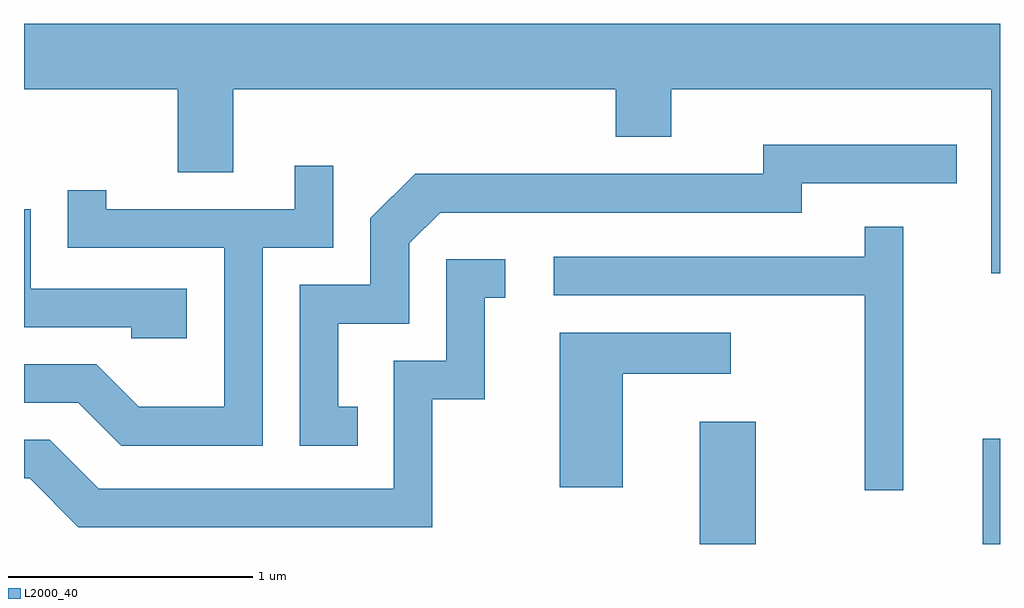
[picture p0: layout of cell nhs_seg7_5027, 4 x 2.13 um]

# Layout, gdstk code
import gdstk
lib = gdstk.Library(unit=1e-6, precision=1e-09)
def R(c, l, rs):  # rectangles x0, y0, x1, y1
    for r in rs: c.add(gdstk.rectangle(r[:2], r[2:], *l))
def P(c, l, *ps):  # polygons
    for p in ps: c.add(gdstk.Polygon(p, *l))
L2000_40 = (2000, 40)

nhs_seg7_5027 = lib.new_cell('nhs_seg7_5027')
R(nhs_seg7_5027, L2000_40, [(342.381,1690.252,342.609,1690.754), (343.541,1690.252,343.611,1690.684)])
P(nhs_seg7_5027, L2000_40, [(343.611,1692.384),(339.611,1692.384),(339.611,1692.116),(340.241,1692.116),(340.241,1691.776),(340.469,1691.776),(340.469,1692.116),(342.036,1692.116),(342.036,1691.921),(342.264,1691.921),(342.264,1692.116),(343.576,1692.116),(343.576,1691.363),(343.611,1691.363)],
  [(340.978,1690.814),(340.899,1690.814),(340.899,1691.156),(341.189,1691.156),(341.189,1691.484),(341.317,1691.611),(342.799,1691.611),(342.799,1691.731),(343.433,1691.731),(343.433,1691.889),(342.641,1691.889),(342.641,1691.769),(341.214,1691.769),(341.031,1691.587),(341.031,1691.314),(340.741,1691.314),(340.741,1690.656),(340.978,1690.656)],
  [(340.589,1691.466),(340.879,1691.466),(340.879,1691.803),(340.721,1691.803),(340.721,1691.624),(339.949,1691.624),(339.949,1691.703),(339.791,1691.703),(339.791,1691.466),(340.431,1691.466),(340.431,1690.814),(340.082,1690.814),(339.907,1690.989),(339.611,1690.989),(339.611,1690.831),(339.834,1690.831),(340.009,1690.656),(340.589,1690.656)],
  [(340.279,1691.299),(339.639,1691.299),(339.639,1691.624),(339.611,1691.624),(339.611,1691.141),(340.051,1691.141),(340.051,1691.096),(340.279,1691.096)],
  [(343.214,1691.553),(343.056,1691.553),(343.056,1691.429),(341.783,1691.429),(341.783,1691.271),(343.056,1691.271),(343.056,1690.473),(343.214,1690.473)],
  [(341.284,1690.846),(341.499,1690.846),(341.499,1691.261),(341.583,1691.261),(341.583,1691.419),(341.341,1691.419),(341.341,1691.004),(341.126,1691.004),(341.126,1690.479),(339.917,1690.479),(339.717,1690.679),(339.611,1690.679),(339.611,1690.521),(339.634,1690.521),(339.834,1690.321),(341.284,1690.321)],
  [(342.064,1690.951),(342.508,1690.951),(342.508,1691.119),(341.806,1691.119),(341.806,1690.486),(342.064,1690.486)])

lib.write_gds('nhs_seg7_5027.gds')
